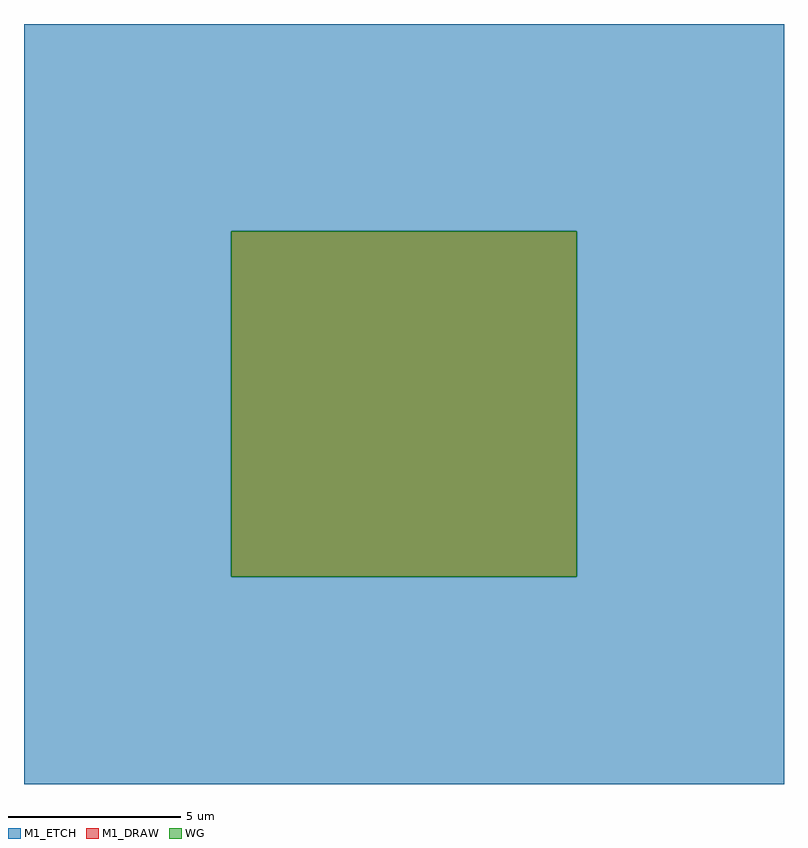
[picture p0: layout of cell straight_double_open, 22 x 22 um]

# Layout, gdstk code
from math import pi, radians
import gdstk
lib = gdstk.Library(unit=1e-6, precision=1e-09)
def R(c, l, rs):  # rectangles x0, y0, x1, y1
    for r in rs: c.add(gdstk.rectangle(r[:2], r[2:], *l))
M1_DRAW = (1, 0)
M1_ETCH = (1, 1)
WG = (102, 0)

straight_gdsfactorypcomp = lib.new_cell('straight_gdsfactorypcomponentspwaveguidespstraight_L10__704d011b')
R(straight_gdsfactorypcomp, M1_DRAW, [(0,-5,10,5)])
R(straight_gdsfactorypcomp, M1_ETCH, [(0,-11,10,-5), (0,5,10,11)])
R(straight_gdsfactorypcomp, WG, [(0,-5,10,5)])

rectangle_s6_22_lm1_etch = lib.new_cell('rectangle_S6_22_LM1_ETCH_CTrue_PTelectrical_PO180_90_0_m90')
R(rectangle_s6_22_lm1_etch, M1_ETCH, [(-3,-11,3,11)])

straight_open_cscoplanar = lib.new_cell('straight_open_CScoplanar_waveguide')
straight_open_cscoplanar.add(gdstk.Reference(straight_gdsfactorypcomp, (0,0)))
straight_open_cscoplanar.add(gdstk.Reference(rectangle_s6_22_lm1_etch, (13,0)))

straight_double_open = lib.new_cell('straight_double_open')
straight_double_open.add(gdstk.Reference(straight_open_cscoplanar, (0,0)))
straight_double_open.add(gdstk.Reference(rectangle_s6_22_lm1_etch, (-3,0), rotation=pi))

lib.write_gds('straight_double_open.gds')
